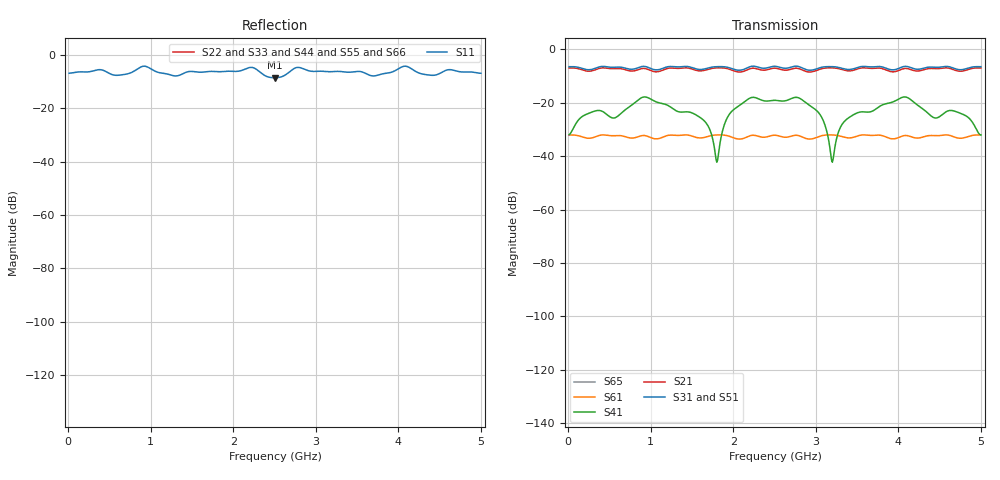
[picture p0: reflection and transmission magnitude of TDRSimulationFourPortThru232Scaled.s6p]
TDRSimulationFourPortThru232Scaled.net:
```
device T3 2 tline zc 55.0 td 4e-10
device T4 2 tline zc 35.0 td 1.1e-09
device D10 2 voltageamplifier gain 1.0 zi 100000000.0 zo 55.0
device T9 2 tline zc 60.0 td 3e-10
device D21 2 voltageamplifier gain 1.0 zi 100000000.0 zo 45.0
device T17 2 tline zc 45.0 td 1.2e-09
device R5 1 R 50.0
device D17 3 directionalcoupler
device D18 3 directionalcoupler
device R6 1 R 50.0
device R7 1 R 50.0
device D19 3 directionalcoupler
device D20 3 directionalcoupler
device R8 1 R 50.0
voltagesource VG2 1
device T5 2 tline zc 50.0 td 1e-10
device G1 1 ground
connect D18 1 T3 1
connect T3 2 T5 1
output D17 1
connect D17 1 T4 2
connect T4 1 D10 2
connect D10 1 VG2 1
connect D19 1 T9 1
connect T5 2 T9 2
output D20 1
connect D20 1 T17 2
connect D21 1 G1 1
connect D21 2 T17 1
output D17 3
connect D17 3 R5 1
connect D17 2 D18 2
output R6 1
connect R6 1 D18 3
output R7 1
connect R7 1 D19 3
connect D20 2 D19 2
output R8 1
connect R8 1 D20 3
```
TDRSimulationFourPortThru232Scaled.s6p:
# MHz MA S R 50.0
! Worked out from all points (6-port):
!   500 points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, 10 MHz to 5 GHz, reference 50 ohm
!   strongest paths, dB at 10 MHz, 1.26 GHz, 2.51 GHz, 3.76 GHz, 5 GHz:
!     S31: -6.5, -6.4, -6.3, -6.4, -6.5
!     S51: -6.5, -6.5, -6.6, -6.5, -6.5
!     S21: -6.9, -7.0, -7.0, -7.0, -6.9
!     S41: -31.9, -22.0, -19.1, -21.6, -32.0
!     S61: -32.0, -32.1, -32.1, -32.1, -32.0
!     S65: -, -, -, -, -
!   lowest |S11| = -8.6 dB at 2.5 GHz (marker M1), VSWR 2.18, Z = 37.9 + j32.6 ohm
!   |S11| at or under -10 dB: nowhere
